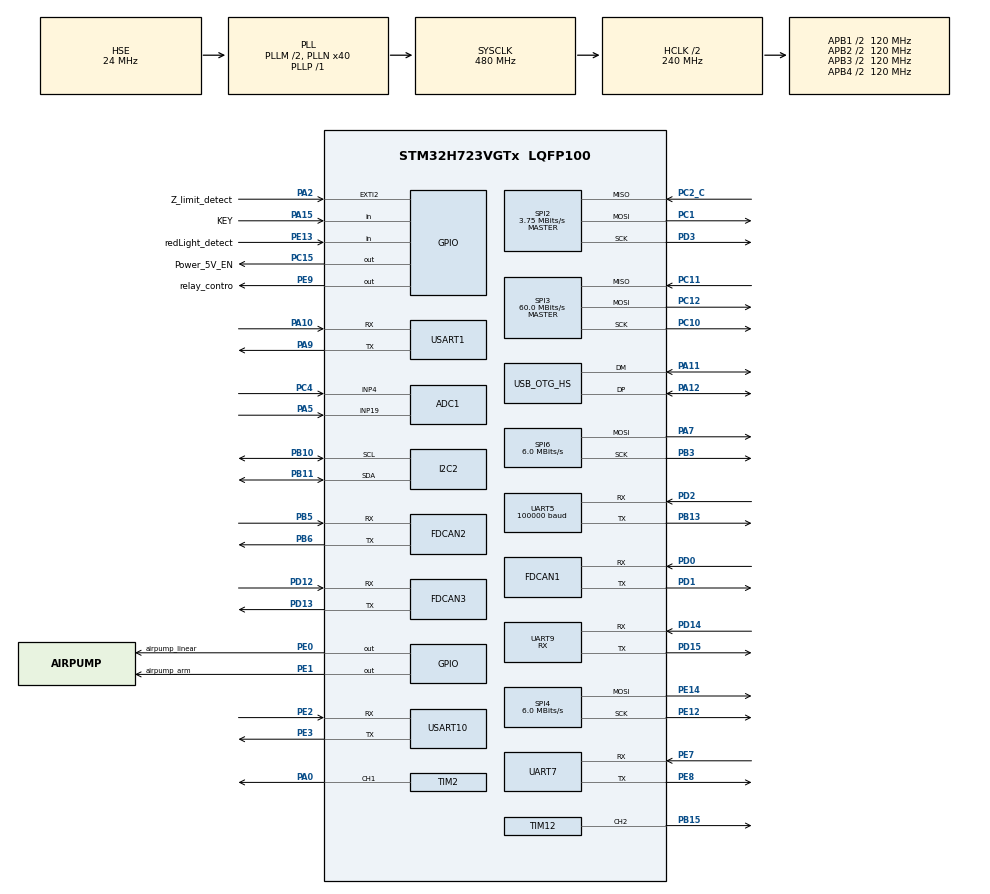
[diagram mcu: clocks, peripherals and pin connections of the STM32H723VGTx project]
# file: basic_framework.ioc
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ADC1.Channel-0\#ChannelRegularConversion=ADC_CHANNEL_4
ADC1.Channel-1\#ChannelRegularConversion=ADC_CHANNEL_4
ADC1.ClockPrescaler=ADC_CLOCK_ASYNC_DIV64
ADC1.ContinuousConvMode=ENABLE
ADC1.ConversionDataManagement=ADC_CONVERSIONDATA_DMA_CIRCULAR
ADC1.NbrOfConversion=2
ADC1.NbrOfConversionFlag=1
ADC1.OffsetNumber-0\#ChannelRegularConversion=ADC_OFFSET_NONE
ADC1.OffsetNumber-1\#ChannelRegularConversion=ADC_OFFSET_NONE
ADC1.OffsetSignedSaturation-0\#ChannelRegularConversion=DISABLE
ADC1.OffsetSignedSaturation-1\#ChannelRegularConversion=DISABLE
ADC1.Rank-0\#ChannelRegularConversion=1
ADC1.Rank-1\#ChannelRegularConversion=2
ADC1.SamplingTime-0\#ChannelRegularConversion=ADC_SAMPLETIME_1CYCLE_5
ADC1.SamplingTime-1\#ChannelRegularConversion=ADC_SAMPLETIME_1CYCLE_5
ADC1.master=1
Bdma.Request0=SPI6_TX
Bdma.RequestsNb=1
Bdma.SPI6_TX.0.Direction=DMA_MEMORY_TO_PERIPH
Bdma.SPI6_TX.0.EventEnable=DISABLE
Bdma.SPI6_TX.0.Instance=BDMA_Channel0
Bdma.SPI6_TX.0.MemDataAlignment=DMA_MDATAALIGN_BYTE
Bdma.SPI6_TX.0.MemInc=DMA_MINC_ENABLE
Bdma.SPI6_TX.0.Mode=DMA_NORMAL
Bdma.SPI6_TX.0.PeriphDataAlignment=DMA_PDATAALIGN_BYTE
Bdma.SPI6_TX.0.PeriphInc=DMA_PINC_DISABLE
Bdma.SPI6_TX.0.Polarity=HAL_DMAMUX_REQ_GEN_RISING
Bdma.SPI6_TX.0.Priority=DMA_PRIORITY_LOW
Bdma.SPI6_TX.0.RequestNumber=1
Bdma.SPI6_TX.0.SignalID=NONE
Bdma.SPI6_TX.0.SyncEnable=DISABLE
Bdma.SPI6_TX.0.SyncPolarity=HAL_DMAMUX_SYNC_NO_EVENT
Bdma.SPI6_TX.0.SyncRequestNumber=1
Bdma.SPI6_TX.0.SyncSignalID=NONE
CORTEX_M7.AccessPermission_S-Cortex_Memory_Protection_Unit_Region1_Settings_S=MPU_REGION_FULL_ACCESS
CORTEX_M7.BaseAddress_S-Cortex_Memory_Protection_Unit_Region1_Settings_S=0x30000000
CORTEX_M7.BaseAddress_Spec=0x30000400
CORTEX_M7.CPU_DCache=Disabled
CORTEX_M7.CPU_ICache=Disabled
CORTEX_M7.DisableExec_S-Cortex_Memory_Protection_Unit_Region1_Settings_S=MPU_INSTRUCTION_ACCESS_DISABLE
CORTEX_M7.Enable_S-Cortex_Memory_Protection_Unit_Region1_Settings_S=MPU_REGION_ENABLE
CORTEX_M7.Enable_S-Cortex_Memory_Protection_Unit_Region2_Settings_S=__NULL
CORTEX_M7.IsBufferable_S-Cortex_Memory_Protection_Unit_Region1_Settings_S=MPU_ACCESS_BUFFERABLE
CORTEX_M7.IsShareable_S-Cortex_Memory_Protection_Unit_Region1_Settings_S=MPU_ACCESS_SHAREABLE
CORTEX_M7.IsShareable_Spec=MPU_ACCESS_NOT_SHAREABLE
CORTEX_M7.Size_S-Cortex_Memory_Protection_Unit_Region1_Settings_S=MPU_REGION_SIZE_1KB
CORTEX_M7.Size_Spec=MPU_REGION_SIZE_32KB
CORTEX_M7.SubRegionDisable_Spec=0x00
Dma.ADC1.9.Direction=DMA_PERIPH_TO_MEMORY
Dma.ADC1.9.EventEnable=DISABLE
Dma.ADC1.9.FIFOMode=DMA_FIFOMODE_DISABLE
Dma.ADC1.9.Instance=DMA1_Stream0
Dma.ADC1.9.MemDataAlignment=DMA_MDATAALIGN_HALFWORD
Dma.ADC1.9.MemInc=DMA_MINC_ENABLE
Dma.ADC1.9.Mode=DMA_NORMAL
Dma.ADC1.9.PeriphDataAlignment=DMA_PDATAALIGN_HALFWORD
Dma.ADC1.9.PeriphInc=DMA_PINC_DISABLE
Dma.ADC1.9.Polarity=HAL_DMAMUX_REQ_GEN_RISING
Dma.ADC1.9.Priority=DMA_PRIORITY_LOW
Dma.ADC1.9.RequestNumber=1
Dma.ADC1.9.SignalID=NONE
Dma.ADC1.9.SyncEnable=DISABLE
Dma.ADC1.9.SyncPolarity=HAL_DMAMUX_SYNC_NO_EVENT
Dma.ADC1.9.SyncRequestNumber=1
Dma.ADC1.9.SyncSignalID=NONE
Dma.Request0=USART10_RX
Dma.Request1=USART10_TX
Dma.Request10=UART9_RX
Dma.Request11=SPI4_TX
Dma.Request12=SPI3_RX
Dma.Request2=UART7_RX
Dma.Request3=UART7_TX
Dma.Request4=USART1_RX
Dma.Request5=USART1_TX
Dma.Request6=SPI2_RX
Dma.Request7=SPI2_TX
Dma.Request8=UART5_RX
Dma.Request9=ADC1
Dma.SPI2_RX.6.Direction=DMA_PERIPH_TO_MEMORY
Dma.SPI2_RX.6.EventEnable=DISABLE
Dma.SPI2_RX.6.FIFOMode=DMA_FIFOMODE_DISABLE
Dma.SPI2_RX.6.Instance=DMA1_Stream7
Dma.SPI2_RX.6.MemDataAlignment=DMA_MDATAALIGN_BYTE
Dma.SPI2_RX.6.MemInc=DMA_MINC_ENABLE
Dma.SPI2_RX.6.Mode=DMA_NORMAL
Dma.SPI2_RX.6.PeriphDataAlignment=DMA_PDATAALIGN_BYTE
Dma.SPI2_RX.6.PeriphInc=DMA_PINC_DISABLE
Dma.SPI2_RX.6.Polarity=HAL_DMAMUX_REQ_GEN_RISING
Dma.SPI2_RX.6.Priority=DMA_PRIORITY_VERY_HIGH
Dma.SPI2_RX.6.RequestNumber=1
Dma.SPI2_RX.6.SignalID=NONE
Dma.SPI2_RX.6.SyncEnable=DISABLE
Dma.SPI2_RX.6.SyncPolarity=HAL_DMAMUX_SYNC_NO_EVENT
Dma.SPI2_RX.6.SyncRequestNumber=1
Dma.SPI2_RX.6.SyncSignalID=NONE
Dma.SPI2_TX.7.Direction=DMA_MEMORY_TO_PERIPH
Dma.SPI2_TX.7.EventEnable=DISABLE
Dma.SPI2_TX.7.FIFOMode=DMA_FIFOMODE_DISABLE
Dma.SPI2_TX.7.Instance=DMA2_Stream0
Dma.SPI2_TX.7.MemDataAlignment=DMA_MDATAALIGN_BYTE
Dma.SPI2_TX.7.MemInc=DMA_MINC_ENABLE
Dma.SPI2_TX.7.Mode=DMA_NORMAL
Dma.SPI2_TX.7.PeriphDataAlignment=DMA_PDATAALIGN_BYTE
Dma.SPI2_TX.7.PeriphInc=DMA_PINC_DISABLE
Dma.SPI2_TX.7.Polarity=HAL_DMAMUX_REQ_GEN_RISING
Dma.SPI2_TX.7.Priority=DMA_PRIORITY_VERY_HIGH
Dma.SPI2_TX.7.RequestNumber=1
Dma.SPI2_TX.7.SignalID=NONE
Dma.SPI2_TX.7.SyncEnable=DISABLE
Dma.SPI2_TX.7.SyncPolarity=HAL_DMAMUX_SYNC_NO_EVENT
Dma.SPI2_TX.7.SyncRequestNumber=1
Dma.SPI2_TX.7.SyncSignalID=NONE
Dma.SPI3_RX.12.Direction=DMA_PERIPH_TO_MEMORY
Dma.SPI3_RX.12.EventEnable=DISABLE
Dma.SPI3_RX.12.FIFOMode=DMA_FIFOMODE_DISABLE
Dma.SPI3_RX.12.Instance=DMA2_Stream4
Dma.SPI3_RX.12.MemDataAlignment=DMA_MDATAALIGN_BYTE
Dma.SPI3_RX.12.MemInc=DMA_MINC_ENABLE
Dma.SPI3_RX.12.Mode=DMA_NORMAL
Dma.SPI3_RX.12.PeriphDataAlignment=DMA_PDATAALIGN_BYTE
Dma.SPI3_RX.12.PeriphInc=DMA_PINC_DISABLE
Dma.SPI3_RX.12.Polarity=HAL_DMAMUX_REQ_GEN_RISING
Dma.SPI3_RX.12.Priority=DMA_PRIORITY_LOW
Dma.SPI3_RX.12.RequestNumber=1
Dma.SPI3_RX.12.SignalID=NONE
Dma.SPI3_RX.12.SyncEnable=DISABLE
Dma.SPI3_RX.12.SyncPolarity=HAL_DMAMUX_SYNC_NO_EVENT
Dma.SPI3_RX.12.SyncRequestNumber=1
Dma.SPI3_RX.12.SyncSignalID=NONE
Dma.SPI4_TX.11.Direction=DMA_MEMORY_TO_PERIPH
Dma.SPI4_TX.11.EventEnable=DISABLE
Dma.SPI4_TX.11.FIFOMode=DMA_FIFOMODE_DISABLE
Dma.SPI4_TX.11.Instance=DMA2_Stream3
Dma.SPI4_TX.11.MemDataAlignment=DMA_MDATAALIGN_BYTE
Dma.SPI4_TX.11.MemInc=DMA_MINC_ENABLE
Dma.SPI4_TX.11.Mode=DMA_NORMAL
Dma.SPI4_TX.11.PeriphDataAlignment=DMA_PDATAALIGN_BYTE
Dma.SPI4_TX.11.PeriphInc=DMA_PINC_DISABLE
Dma.SPI4_TX.11.Polarity=HAL_DMAMUX_REQ_GEN_RISING
Dma.SPI4_TX.11.Priority=DMA_PRIORITY_LOW
Dma.SPI4_TX.11.RequestNumber=1
Dma.SPI4_TX.11.SignalID=NONE
Dma.SPI4_TX.11.SyncEnable=DISABLE
Dma.SPI4_TX.11.SyncPolarity=HAL_DMAMUX_SYNC_NO_EVENT
Dma.SPI4_TX.11.SyncRequestNumber=1
Dma.SPI4_TX.11.SyncSignalID=NONE
Dma.UART5_RX.8.Direction=DMA_PERIPH_TO_MEMORY
Dma.UART5_RX.8.EventEnable=DISABLE
Dma.UART5_RX.8.FIFOMode=DMA_FIFOMODE_DISABLE
Dma.UART5_RX.8.Instance=DMA2_Stream1
Dma.UART5_RX.8.MemDataAlignment=DMA_MDATAALIGN_BYTE
Dma.UART5_RX.8.MemInc=DMA_MINC_ENABLE
Dma.UART5_RX.8.Mode=DMA_NORMAL
Dma.UART5_RX.8.PeriphDataAlignment=DMA_PDATAALIGN_BYTE
Dma.UART5_RX.8.PeriphInc=DMA_PINC_DISABLE
Dma.UART5_RX.8.Polarity=HAL_DMAMUX_REQ_GEN_RISING
Dma.UART5_RX.8.Priority=DMA_PRIORITY_VERY_HIGH
Dma.UART5_RX.8.RequestNumber=1
Dma.UART5_RX.8.SignalID=NONE
Dma.UART5_RX.8.SyncEnable=DISABLE
Dma.UART5_RX.8.SyncPolarity=HAL_DMAMUX_SYNC_NO_EVENT
Dma.UART5_RX.8.SyncRequestNumber=1
Dma.UART5_RX.8.SyncSignalID=NONE
Dma.UART7_RX.2.Direction=DMA_PERIPH_TO_MEMORY
Dma.UART7_RX.2.EventEnable=DISABLE
Dma.UART7_RX.2.FIFOMode=DMA_FIFOMODE_DISABLE
Dma.UART7_RX.2.Instance=DMA1_Stream3
Dma.UART7_RX.2.MemDataAlignment=DMA_MDATAALIGN_BYTE
Dma.UART7_RX.2.MemInc=DMA_MINC_ENABLE
Dma.UART7_RX.2.Mode=DMA_NORMAL
Dma.UART7_RX.2.PeriphDataAlignment=DMA_PDATAALIGN_BYTE
Dma.UART7_RX.2.PeriphInc=DMA_PINC_DISABLE
Dma.UART7_RX.2.Polarity=HAL_DMAMUX_REQ_GEN_RISING
Dma.UART7_RX.2.Priority=DMA_PRIORITY_LOW
Dma.UART7_RX.2.RequestNumber=1
Dma.UART7_RX.2.SignalID=NONE
Dma.UART7_RX.2.SyncEnable=DISABLE
Dma.UART7_RX.2.SyncPolarity=HAL_DMAMUX_SYNC_NO_EVENT
Dma.UART7_RX.2.SyncRequestNumber=1
Dma.UART7_RX.2.SyncSignalID=NONE
Dma.UART7_TX.3.Direction=DMA_MEMORY_TO_PERIPH
Dma.UART7_TX.3.EventEnable=DISABLE
Dma.UART7_TX.3.FIFOMode=DMA_FIFOMODE_DISABLE
Dma.UART7_TX.3.Instance=DMA1_Stream4
Dma.UART7_TX.3.MemDataAlignment=DMA_MDATAALIGN_BYTE
Dma.UART7_TX.3.MemInc=DMA_MINC_ENABLE
Dma.UART7_TX.3.Mode=DMA_NORMAL
Dma.UART7_TX.3.PeriphDataAlignment=DMA_PDATAALIGN_BYTE
Dma.UART7_TX.3.PeriphInc=DMA_PINC_DISABLE
Dma.UART7_TX.3.Polarity=HAL_DMAMUX_REQ_GEN_RISING
Dma.UART7_TX.3.Priority=DMA_PRIORITY_LOW
Dma.UART7_TX.3.RequestNumber=1
Dma.UART7_TX.3.SignalID=NONE
Dma.UART7_TX.3.SyncEnable=DISABLE
Dma.UART7_TX.3.SyncPolarity=HAL_DMAMUX_SYNC_NO_EVENT
Dma.UART7_TX.3.SyncRequestNumber=1
Dma.UART7_TX.3.SyncSignalID=NONE
Dma.UART9_RX.10.Direction=DMA_PERIPH_TO_MEMORY
Dma.UART9_RX.10.EventEnable=DISABLE
Dma.UART9_RX.10.FIFOMode=DMA_FIFOMODE_DISABLE
Dma.UART9_RX.10.Instance=DMA2_Stream2
Dma.UART9_RX.10.MemDataAlignment=DMA_MDATAALIGN_BYTE
Dma.UART9_RX.10.MemInc=DMA_MINC_ENABLE
Dma.UART9_RX.10.Mode=DMA_NORMAL
Dma.UART9_RX.10.PeriphDataAlignment=DMA_PDATAALIGN_BYTE
Dma.UART9_RX.10.PeriphInc=DMA_PINC_DISABLE
Dma.UART9_RX.10.Polarity=HAL_DMAMUX_REQ_GEN_RISING
Dma.UART9_RX.10.Priority=DMA_PRIORITY_HIGH
Dma.UART9_RX.10.RequestNumber=1
Dma.UART9_RX.10.SignalID=NONE
Dma.UART9_RX.10.SyncEnable=DISABLE
Dma.UART9_RX.10.SyncPolarity=HAL_DMAMUX_SYNC_NO_EVENT
Dma.UART9_RX.10.SyncRequestNumber=1
Dma.UART9_RX.10.SyncSignalID=NONE
Dma.USART10_RX.0.Direction=DMA_PERIPH_TO_MEMORY
Dma.USART10_RX.0.EventEnable=DISABLE
Dma.USART10_RX.0.FIFOMode=DMA_FIFOMODE_DISABLE
Dma.USART10_RX.0.Instance=DMA1_Stream1
Dma.USART10_RX.0.MemDataAlignment=DMA_MDATAALIGN_BYTE
Dma.USART10_RX.0.MemInc=DMA_MINC_ENABLE
Dma.USART10_RX.0.Mode=DMA_NORMAL
Dma.USART10_RX.0.PeriphDataAlignment=DMA_PDATAALIGN_BYTE
Dma.USART10_RX.0.PeriphInc=DMA_PINC_DISABLE
Dma.USART10_RX.0.Polarity=HAL_DMAMUX_REQ_GEN_RISING
Dma.USART10_RX.0.Priority=DMA_PRIORITY_HIGH
Dma.USART10_RX.0.RequestNumber=1
Dma.USART10_RX.0.SignalID=NONE
Dma.USART10_RX.0.SyncEnable=DISABLE
Dma.USART10_RX.0.SyncPolarity=HAL_DMAMUX_SYNC_NO_EVENT
Dma.USART10_RX.0.SyncRequestNumber=1
Dma.USART10_RX.0.SyncSignalID=NONE
Dma.USART10_TX.1.Direction=DMA_MEMORY_TO_PERIPH
Dma.USART10_TX.1.EventEnable=DISABLE
Dma.USART10_TX.1.FIFOMode=DMA_FIFOMODE_DISABLE
Dma.USART10_TX.1.Instance=DMA1_Stream2
Dma.USART10_TX.1.MemDataAlignment=DMA_MDATAALIGN_BYTE
Dma.USART10_TX.1.MemInc=DMA_MINC_ENABLE
Dma.USART10_TX.1.Mode=DMA_NORMAL
Dma.USART10_TX.1.PeriphDataAlignment=DMA_PDATAALIGN_BYTE
Dma.USART10_TX.1.PeriphInc=DMA_PINC_DISABLE
Dma.USART10_TX.1.Polarity=HAL_DMAMUX_REQ_GEN_RISING
Dma.USART10_TX.1.Priority=DMA_PRIORITY_HIGH
Dma.USART10_TX.1.RequestNumber=1
Dma.USART10_TX.1.SignalID=NONE
Dma.USART10_TX.1.SyncEnable=DISABLE
Dma.USART10_TX.1.SyncPolarity=HAL_DMAMUX_SYNC_NO_EVENT
Dma.USART10_TX.1.SyncRequestNumber=1
Dma.USART10_TX.1.SyncSignalID=NONE
Dma.USART1_RX.4.Direction=DMA_PERIPH_TO_MEMORY
Dma.USART1_RX.4.EventEnable=DISABLE
Dma.USART1_RX.4.FIFOMode=DMA_FIFOMODE_DISABLE
Dma.USART1_RX.4.Instance=DMA1_Stream5
Dma.USART1_RX.4.MemDataAlignment=DMA_MDATAALIGN_BYTE
Dma.USART1_RX.4.MemInc=DMA_MINC_ENABLE
Dma.USART1_RX.4.Mode=DMA_NORMAL
Dma.USART1_RX.4.PeriphDataAlignment=DMA_PDATAALIGN_BYTE
Dma.USART1_RX.4.PeriphInc=DMA_PINC_DISABLE
Dma.USART1_RX.4.Polarity=HAL_DMAMUX_REQ_GEN_RISING
Dma.USART1_RX.4.Priority=DMA_PRIORITY_LOW
Dma.USART1_RX.4.RequestNumber=1
Dma.USART1_RX.4.SignalID=NONE
Dma.USART1_RX.4.SyncEnable=DISABLE
Dma.USART1_RX.4.SyncPolarity=HAL_DMAMUX_SYNC_NO_EVENT
Dma.USART1_RX.4.SyncRequestNumber=1
Dma.USART1_RX.4.SyncSignalID=NONE
Dma.USART1_TX.5.Direction=DMA_MEMORY_TO_PERIPH
Dma.USART1_TX.5.EventEnable=DISABLE
Dma.USART1_TX.5.FIFOMode=DMA_FIFOMODE_DISABLE
Dma.USART1_TX.5.Instance=DMA1_Stream6
Dma.USART1_TX.5.MemDataAlignment=DMA_MDATAALIGN_BYTE
Dma.USART1_TX.5.MemInc=DMA_MINC_ENABLE
Dma.USART1_TX.5.Mode=DMA_NORMAL
Dma.USART1_TX.5.PeriphDataAlignment=DMA_PDATAALIGN_BYTE
Dma.USART1_TX.5.PeriphInc=DMA_PINC_DISABLE
Dma.USART1_TX.5.Polarity=HAL_DMAMUX_REQ_GEN_RISING
Dma.USART1_TX.5.Priority=DMA_PRIORITY_LOW
Dma.USART1_TX.5.RequestNumber=1
Dma.USART1_TX.5.SignalID=NONE
Dma.USART1_TX.5.SyncEnable=DISABLE
Dma.USART1_TX.5.SyncPolarity=HAL_DMAMUX_SYNC_NO_EVENT
Dma.USART1_TX.5.SyncRequestNumber=1
Dma.USART1_TX.5.SyncSignalID=NONE
FDCAN1.AutoRetransmission=ENABLE
FDCAN1.CalculateBaudRateNominal=1000000
FDCAN1.CalculateTimeBitNominal=1000
FDCAN1.CalculateTimeQuantumNominal=166.66666666666666
FDCAN1.NominalPrescaler=4
FDCAN1.NominalTimeSeg1=3
FDCAN1.NominalTimeSeg2=2
FDCAN1.RxFifo0ElmtsNbr=32
FDCAN1.RxFifo1ElmtsNbr=32
FDCAN1.StdFiltersNbr=1
FDCAN1.TxFifoQueueElmtsNbr=32
FDCAN2.AutoRetransmission=ENABLE
FDCAN2.CalculateBaudRateNominal=1000000
FDCAN2.CalculateTimeBitNominal=1000
FDCAN2.CalculateTimeQuantumNominal=166.66666666666666
FDCAN2.MessageRAMOffset=0x406
FDCAN2.NominalPrescaler=4
FDCAN2.NominalTimeSeg1=3
FDCAN2.NominalTimeSeg2=2
FDCAN2.RxFifo0ElmtsNbr=32
FDCAN2.RxFifo1ElmtsNbr=32
FDCAN2.StdFiltersNbr=1
FDCAN2.TxFifoQueueElmtsNbr=32
FDCAN3.AutoRetransmission=ENABLE
FDCAN3.CalculateBaudRateNominal=1000000
FDCAN3.CalculateTimeBitNominal=1000
FDCAN3.CalculateTimeQuantumNominal=166.66666666666666
FDCAN3.MessageRAMOffset=0x812
FDCAN3.NominalPrescaler=4
FDCAN3.NominalTimeSeg1=3
FDCAN3.NominalTimeSeg2=2
FDCAN3.RxFifo0ElmtsNbr=32
FDCAN3.StdFiltersNbr=1
FDCAN3.TxFifoQueueElmtsNbr=32
I2C2.Timing=0x307075B1
Mcu.Family=STM32H7
Mcu.Name=STM32H723VGTx
Mcu.Package=LQFP100
NVIC.BDMA_Channel0_IRQn=true\:0\:0\:false\:false\:true\:false\:true\:true
NVIC.DMA1_Stream0_IRQn=true\:0\:0\:false\:false\:true\:false\:true\:true
NVIC.DMA1_Stream1_IRQn=true\:0\:0\:false\:false\:true\:false\:true\:true
NVIC.DMA1_Stream2_IRQn=true\:0\:0\:false\:false\:true\:false\:true\:true
NVIC.DMA1_Stream3_IRQn=true\:0\:0\:false\:false\:true\:false\:true\:true
NVIC.DMA1_Stream4_IRQn=true\:0\:0\:false\:false\:true\:false\:true\:true
NVIC.DMA1_Stream5_IRQn=true\:0\:0\:false\:false\:true\:false\:true\:true
NVIC.DMA1_Stream6_IRQn=true\:0\:0\:false\:false\:true\:false\:true\:true
NVIC.DMA1_Stream7_IRQn=true\:0\:0\:false\:false\:true\:false\:true\:true
NVIC.DMA2_Stream0_IRQn=true\:0\:0\:false\:false\:true\:false\:true\:true
NVIC.DMA2_Stream1_IRQn=true\:0\:0\:false\:false\:true\:false\:true\:true
NVIC.DMA2_Stream2_IRQn=true\:0\:0\:false\:false\:true\:false\:true\:true
NVIC.DMA2_Stream3_IRQn=true\:0\:0\:false\:false\:true\:false\:true\:true
NVIC.DMA2_Stream4_IRQn=true\:0\:0\:false\:false\:true\:false\:true\:true
NVIC.EXTI2_IRQn=true\:0\:0\:false\:false\:true\:true\:true\:true
NVIC.FDCAN1_IT0_IRQn=true\:0\:0\:false\:false\:true\:true\:true\:true
NVIC.FDCAN1_IT1_IRQn=true\:0\:0\:false\:false\:true\:true\:true\:true
NVIC.FDCAN2_IT0_IRQn=true\:0\:0\:false\:false\:true\:true\:true\:true
NVIC.FDCAN2_IT1_IRQn=true\:0\:0\:false\:false\:true\:true\:true\:true
NVIC.FDCAN3_IT0_IRQn=true\:0\:0\:false\:false\:true\:true\:true\:true
NVIC.FDCAN3_IT1_IRQn=true\:0\:0\:false\:false\:true\:true\:true\:true
NVIC.FLASH_IRQn=true\:14\:0\:true\:false\:true\:true\:true\:true
NVIC.OTG_HS_IRQn=true\:0\:0\:false\:false\:true\:false\:true\:true
NVIC.PriorityGroup=NVIC_PRIORITYGROUP_4
NVIC.SPI2_IRQn=true\:0\:0\:false\:false\:true\:false\:true\:true
NVIC.SPI3_IRQn=true\:0\:0\:false\:false\:true\:false\:true\:true
NVIC.SPI4_IRQn=true\:0\:0\:false\:false\:true\:true\:true\:true
NVIC.SPI6_IRQn=true\:0\:0\:false\:false\:true\:true\:true\:true
NVIC.TIM8_TRG_COM_TIM14_IRQn=true\:15\:0\:false\:false\:true\:false\:true\:true
NVIC.TimeBase=TIM8_TRG_COM_TIM14_IRQn
NVIC.TimeBaseIP=TIM14
NVIC.UART5_IRQn=true\:0\:0\:false\:false\:true\:true\:true\:true
NVIC.UART7_IRQn=true\:0\:0\:false\:false\:true\:true\:true\:true
NVIC.UART9_IRQn=true\:0\:0\:false\:false\:true\:true\:true\:true
NVIC.USART10_IRQn=true\:0\:0\:false\:false\:true\:true\:true\:true
NVIC.USART1_IRQn=true\:0\:0\:false\:false\:true\:true\:true\:true
PA0.Signal=S_TIM2_CH1_ETR
PA10.Mode=Asynchronous
PA10.Signal=USART1_RX
PA11.Mode=Device_Only_FS
PA11.Signal=USB_OTG_HS_DM
PA12.Mode=Device_Only_FS
PA12.Signal=USB_OTG_HS_DP
PA13(JTMS/SWDIO).Mode=Serial_Wire
PA13(JTMS/SWDIO).Signal=DEBUG_JTMS-SWDIO
PA14(JTCK/SWCLK).Mode=Serial_Wire
PA14(JTCK/SWCLK).Signal=DEBUG_JTCK-SWCLK
PA15(JTDI).GPIO_Label=KEY
PA15(JTDI).GPIO_PuPd=GPIO_PULLUP
PA15(JTDI).Signal=GPIO_Input
PA2.GPIO_Label=Z_limit_detect
PA2.GPIO_ModeDefaultEXTI=GPIO_MODE_IT_FALLING
PA2.GPIO_PuPd=GPIO_PULLUP
PA2.Signal=GPXTI2
PA5.Signal=ADCx_INP19
PA7.Mode=TX_Only_Simplex_Unidirect_Master
PA7.Signal=SPI6_MOSI
PA9.Mode=Asynchronous
PA9.Signal=USART1_TX
PB10.Mode=I2C
PB10.Signal=I2C2_SCL
PB11.Mode=I2C
PB11.Signal=I2C2_SDA
PB13.Mode=Asynchronous
PB13.Signal=UART5_TX
PB15.Signal=S_TIM12_CH2
PB3(JTDO/TRACESWO).Mode=TX_Only_Simplex_Unidirect_Master
PB3(JTDO/TRACESWO).Signal=SPI6_SCK
PB5.GPIO_Speed=GPIO_SPEED_FREQ_LOW
PB5.Mode=FDCAN_Activate
PB5.Signal=FDCAN2_RX
PB6.GPIO_Speed=GPIO_SPEED_FREQ_LOW
PB6.Mode=FDCAN_Activate
PB6.Signal=FDCAN2_TX
PC1.Mode=Full_Duplex_Master
PC1.Signal=SPI2_MOSI
PC10.Mode=Full_Duplex_Master
PC10.Signal=SPI3_SCK
PC11.Mode=Full_Duplex_Master
PC11.Signal=SPI3_MISO
PC12.Mode=Full_Duplex_Master
PC12.Signal=SPI3_MOSI
PC15-OSC32_OUT.GPIO_Label=Power_5V_EN
PC15-OSC32_OUT.GPIO_ModeDefaultOutputPP=GPIO_MODE_OUTPUT_PP
PC15-OSC32_OUT.GPIO_PuPd=GPIO_PULLUP
PC15-OSC32_OUT.PinState=GPIO_PIN_SET
PC15-OSC32_OUT.Signal=GPIO_Output
PC2_C.Mode=Full_Duplex_Master
PC2_C.Signal=SPI2_MISO
PC4.Signal=ADCx_INP4
PD0.GPIO_Speed=GPIO_SPEED_FREQ_VERY_HIGH
PD0.Mode=FDCAN_Activate
PD0.Signal=FDCAN1_RX
PD1.GPIO_Speed=GPIO_SPEED_FREQ_VERY_HIGH
PD1.Mode=FDCAN_Activate
PD1.Signal=FDCAN1_TX
PD12.GPIO_Speed=GPIO_SPEED_FREQ_VERY_HIGH
PD12.Mode=FDCAN_Activate
PD12.Signal=FDCAN3_RX
PD13.GPIO_Speed=GPIO_SPEED_FREQ_VERY_HIGH
PD13.Mode=FDCAN_Activate
PD13.Signal=FDCAN3_TX
PD14.Mode=Asynchronous
PD14.Signal=UART9_RX
PD15.Mode=Asynchronous
PD15.Signal=UART9_TX
PD2.GPIO_Speed=GPIO_SPEED_FREQ_VERY_HIGH
PD2.Mode=Asynchronous
PD2.Signal=UART5_RX
PD3.Mode=Full_Duplex_Master
PD3.Signal=SPI2_SCK
PE0.GPIO_Label=airpump_linear
PE0.GPIO_PuPd=GPIO_PULLUP
PE0.Signal=GPIO_Output
PE1.GPIO_Label=airpump_arm
PE1.GPIO_PuPd=GPIO_PULLUP
PE1.Signal=GPIO_Output
PE12.Mode=TX_Only_Simplex_Unidirect_Master
PE12.Signal=SPI4_SCK
PE13.GPIO_Label=redLight_detect
PE13.GPIO_PuPd=GPIO_PULLDOWN
PE13.Signal=GPIO_Input
PE14.Mode=TX_Only_Simplex_Unidirect_Master
PE14.Signal=SPI4_MOSI
PE2.Mode=Asynchronous
PE2.Signal=USART10_RX
PE3.Mode=Asynchronous
PE3.Signal=USART10_TX
PE7.Mode=Asynchronous
PE7.Signal=UART7_RX
PE8.Mode=Asynchronous
PE8.Signal=UART7_TX
PE9.GPIO_Label=relay_contro
PE9.GPIO_PuPd=GPIO_PULLUP
PE9.Signal=GPIO_Output
PH0-OSC_IN.Mode=HSE-External-Oscillator
PH0-OSC_IN.Signal=RCC_OSC_IN
PH1-OSC_OUT.Mode=HSE-External-Oscillator
PH1-OSC_OUT.Signal=RCC_OSC_OUT
ProjectManager.HeapSize=0x10000
ProjectManager.StackSize=0x10000
ProjectManager.TargetToolchain=Makefile
RCC.ADCFreq_Value=96000000
RCC.APB1Freq_Value=120000000
RCC.APB2Freq_Value=120000000
RCC.APB3Freq_Value=120000000
RCC.APB4Freq_Value=120000000
RCC.CortexFreq_Value=480000000
RCC.D1PPRE=RCC_APB3_DIV2
RCC.D2PPRE1=RCC_APB1_DIV2
RCC.D2PPRE2=RCC_APB2_DIV2
RCC.D3PPRE=RCC_APB4_DIV2
RCC.DIVM1=2
RCC.DIVM2=2
RCC.DIVN1=40
RCC.DIVN2=16
RCC.DIVP1=1
RCC.DIVQ1=4
RCC.EnbaleCSS=false
RCC.FDCANCLockSelection=RCC_FDCANCLKSOURCE_HSE
RCC.HCLKFreq_Value=240000000
RCC.HPRE=RCC_HCLK_DIV2
RCC.HSE_VALUE=24000000
RCC.PLL1_VCO_SEL-AdvancedSettings=RCC_PLL1VCOMEDIUM
RCC.PLL2FRACN=0
RCC.PLL2_VCO_SEL-AdvancedSettings=RCC_PLL2VCOMEDIUM
RCC.PLL3FRACN=0
RCC.PLL3_VCO_SEL-AdvancedSettings=RCC_PLL3VCOMEDIUM
RCC.PLLFRACN=0
RCC.PLLSourceVirtual=RCC_PLLSOURCE_HSE
RCC.SPI6CLockSelection=RCC_SPI6CLKSOURCE_HSE
RCC.SYSCLKFreq_VALUE=480000000
RCC.SYSCLKSource=RCC_SYSCLKSOURCE_PLLCLK
RCC.Spi45ClockSelection=RCC_SPI45CLKSOURCE_HSE
RCC.USART16CLockSelection=RCC_USART16910CLKSOURCE_HSI
RCC.USART234578CLockSelection=RCC_USART234578CLKSOURCE_HSI
RCC.USBCLockSelection=RCC_USBCLKSOURCE_HSI48
RCC.USBFreq_Value=48000000
SH.ADCx_INP19.0=ADC1_INP19,IN19-Single-Ended
SH.ADCx_INP4.0=ADC1_INP4,IN4-Single-Ended
SH.S_TIM12_CH2.0=TIM12_CH2,PWM Generation2 CH2
SH.S_TIM2_CH1_ETR.0=TIM2_CH1,PWM Generation1 CH1
SPI2.BaudRatePrescaler=SPI_BAUDRATEPRESCALER_32
SPI2.CLKPhase=SPI_PHASE_2EDGE
SPI2.CLKPolarity=SPI_POLARITY_HIGH
SPI2.CalculateBaudRate=3.75 MBits/s
SPI2.DataSize=SPI_DATASIZE_8BIT
SPI2.Direction=SPI_DIRECTION_2LINES
SPI2.Mode=SPI_MODE_MASTER
SPI2.VirtualType=VM_MASTER
SPI3.BaudRatePrescaler=SPI_BAUDRATEPRESCALER_2
SPI3.CalculateBaudRate=60.0 MBits/s
SPI3.DataSize=SPI_DATASIZE_24BIT
SPI3.Direction=SPI_DIRECTION_2LINES
SPI3.Mode=SPI_MODE_MASTER
SPI3.VirtualType=VM_MASTER
SPI4.BaudRatePrescaler=SPI_BAUDRATEPRESCALER_4
SPI4.CLKPhase=SPI_PHASE_2EDGE
SPI4.CalculateBaudRate=6.0 MBits/s
SPI4.DataSize=SPI_DATASIZE_8BIT
SPI4.Direction=SPI_DIRECTION_2LINES_TXONLY
SPI4.Mode=SPI_MODE_MASTER
SPI4.VirtualType=VM_MASTER
SPI6.BaudRatePrescaler=SPI_BAUDRATEPRESCALER_4
SPI6.CLKPhase=SPI_PHASE_2EDGE
SPI6.CalculateBaudRate=6.0 MBits/s
SPI6.DataSize=SPI_DATASIZE_8BIT
SPI6.Direction=SPI_DIRECTION_2LINES_TXONLY
SPI6.Mode=SPI_MODE_MASTER
SPI6.VirtualType=VM_MASTER
TIM12.Channel-PWM\ Generation2\ CH2=TIM_CHANNEL_2
TIM12.Period=1000-1
TIM12.Prescaler=240-1
TIM12.Pulse-PWM\ Generation2\ CH2=0
TIM2.Channel-PWM\ Generation1\ CH1=TIM_CHANNEL_1
TIM2.Period=19999
TIM2.Prescaler=240-1
UART5.BaudRate=100000
UART5.Mode=MODE_RX
UART5.Parity=PARITY_EVEN
UART5.StopBits=UART_STOPBITS_2
UART5.WordLength=WORDLENGTH_9B
UART9.Mode=MODE_RX
USART1.VirtualMode-Asynchronous=VM_ASYNC
USART10.VirtualMode=VM_ASYNC
USB_DEVICE.CLASS_NAME_HS=CDC
USB_DEVICE.PID_CDC_HS=0x5740
USB_DEVICE.PRODUCT_STRING_CDC_HS=STM32 Virtual ComPort
USB_DEVICE.VirtualMode=Cdc
USB_DEVICE.VirtualModeHS=Cdc_HS
USB_OTG_HS.VirtualMode-Device_Only_FS=Device_Only_FS
VP_MEMORYMAP_VS_MEMORYMAP.Mode=CurAppReg
VP_SYS_VS_tim14.Mode=TIM14
VP_USB_DEVICE_VS_USB_DEVICE_CDC_HS.Mode=CDC_HS
board=custom

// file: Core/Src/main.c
/* USER CODE BEGIN Header */
/**
  ******************************************************************************
  * @file           : main.c
  * @brief          : Main program body
  ******************************************************************************
  * @attention
  *
  * Copyright (c) 2024 STMicroelectronics.
  * All rights reserved.
  *
  * This software is licensed under terms that can be found in the LICENSE file
  * in the root directory of this software component.
  * If no LICENSE file comes with this software, it is provided AS-IS.
  *
  ******************************************************************************
  */
/* USER CODE END Header */
#include "main.h"
#include "adc.h"
#include "bdma.h"
#include "dma.h"
#include "fdcan.h"
#include "i2c.h"
#include "memorymap.h"
#include "spi.h"
#include "tim.h"
#include "usart.h"
#include "usb_device.h"
#include "gpio.h"

/* USER CODE BEGIN Includes */
#include <assert.h>

#include <bsp/SEGGER/Config/SEGGER_RTT_Conf.h>
#include <bsp/SEGGER/RTT/SEGGER_RTT.h>
/* USER CODE END Includes */

void SystemClock_Config(void);

int main(void)
{

  /* MCU Configuration--------------------------------------------------------*/

  /* Reset of all peripherals, Initializes the Flash interface and the Systick. */
  HAL_Init();

  /* USER CODE BEGIN Init */
  SEGGER_RTT_Init();

  /* USER CODE END Init */

  /* Configure the system clock */
  SystemClock_Config();

  /* USER CODE BEGIN SysInit */

  extern __ALIGN_BEGIN uint8_t USBD_HS_DeviceDesc[USB_LEN_DEV_DESC] __ALIGN_END;
  // Generate USB PID from STM32 12-byte unique id using simple CRC-16 algorithm.
  uint16_t pid  = 0xFFFF;
  uint8_t *data = (uint8_t*)UID_BASE;
  size_t len    = 12;
  while (len--) {
    pid ^= *data++;
    for (int i = 0; i < 8; i++) {
      if (pid & 1) pid = (pid >> 1) ^ 0x8408;
      else         pid = (pid >> 1);
    }
  }
  USBD_HS_DeviceDesc[10] = LOBYTE(pid);
  USBD_HS_DeviceDesc[11] = HIBYTE(pid);

  /* USER CODE END SysInit */

  /* Initialize all configured peripherals */
  MX_GPIO_Init();
  MX_DMA_Init();
  MX_BDMA_Init();
  MX_UART5_Init();
  MX_FDCAN1_Init();
  MX_TIM12_Init();
  MX_I2C2_Init();
  MX_USART10_UART_Init();
  MX_UART7_Init();
  MX_USART1_UART_Init();
  MX_SPI2_Init();
  MX_ADC1_Init();
  MX_SPI6_Init();
  MX_FDCAN2_Init();
  MX_USB_DEVICE_Init();
  MX_TIM2_Init();
  MX_FDCAN3_Init();
  MX_SPI4_Init();
  MX_UART9_Init();
  MX_SPI3_Init();
  /* USER CODE BEGIN 2 */

  static uint8_t txbuf[24];
  const uint8_t WS2812_HighLevel = 0xf0;
  const uint8_t WS2812_LowLevel  = 0xC0;
  uint32_t color = 0x000200;
  for (int i = 0; i < 8; i++)
  {
      txbuf[7-i]  = (((color>>(i+8))&0x01) ? WS2812_HighLevel : WS2812_LowLevel)>>1;
      txbuf[15-i] = (((color>>(i+16))&0x01) ? WS2812_HighLevel : WS2812_LowLevel)>>1;
      txbuf[23-i] = (((color>>i)&0x01) ? WS2812_HighLevel : WS2812_LowLevel)>>1;
  }
  HAL_SPI_Transmit(&hspi6, (uint8_t *)txbuf, 24, 1);
  HAL_Delay(100);

  AppEntry();
  assert(0);

  /* USER CODE END 2 */

  /* Infinite loop */
  while (1)
  {

  }
}

void SystemClock_Config(void)
{
  RCC_OscInitTypeDef RCC_OscInitStruct = {0};
  RCC_ClkInitTypeDef RCC_ClkInitStruct = {0};

  /** Supply configuration update enable
  */
  HAL_PWREx_ConfigSupply(PWR_LDO_SUPPLY);

  /** Configure the main internal regulator output voltage
  */
  __HAL_PWR_VOLTAGESCALING_CONFIG(PWR_REGULATOR_VOLTAGE_SCALE0);

  while(!__HAL_PWR_GET_FLAG(PWR_FLAG_VOSRDY)) {}

  /** Initializes the RCC Oscillators according to the specified parameters
  * in the RCC_OscInitTypeDef structure.
  */
  RCC_OscInitStruct.OscillatorType = RCC_OSCILLATORTYPE_HSI48|RCC_OSCILLATORTYPE_HSI
                              |RCC_OSCILLATORTYPE_HSE;
  RCC_OscInitStruct.HSEState = RCC_HSE_ON;
  RCC_OscInitStruct.HSIState = RCC_HSI_DIV1;
  RCC_OscInitStruct.HSICalibrationValue = 64;
  RCC_OscInitStruct.HSI48State = RCC_HSI48_ON;
  RCC_OscInitStruct.PLL.PLLState = RCC_PLL_ON;
  RCC_OscInitStruct.PLL.PLLSource = RCC_PLLSOURCE_HSE;
  RCC_OscInitStruct.PLL.PLLM = 2;
  RCC_OscInitStruct.PLL.PLLN = 40;
  RCC_OscInitStruct.PLL.PLLP = 1;
  RCC_OscInitStruct.PLL.PLLQ = 4;
  RCC_OscInitStruct.PLL.PLLR = 2;
  RCC_OscInitStruct.PLL.PLLRGE = RCC_PLL1VCIRANGE_3;
  RCC_OscInitStruct.PLL.PLLVCOSEL = RCC_PLL1VCOWIDE;
  RCC_OscInitStruct.PLL.PLLFRACN = 0;
  if (HAL_RCC_OscConfig(&RCC_OscInitStruct) != HAL_OK)
  {
    Error_Handler();
  }

  /** Initializes the CPU, AHB and APB buses clocks
  */
  RCC_ClkInitStruct.ClockType = RCC_CLOCKTYPE_HCLK|RCC_CLOCKTYPE_SYSCLK
                              |RCC_CLOCKTYPE_PCLK1|RCC_CLOCKTYPE_PCLK2
                              |RCC_CLOCKTYPE_D3PCLK1|RCC_CLOCKTYPE_D1PCLK1;
  RCC_ClkInitStruct.SYSCLKSource = RCC_SYSCLKSOURCE_PLLCLK;
  RCC_ClkInitStruct.SYSCLKDivider = RCC_SYSCLK_DIV1;
  RCC_ClkInitStruct.AHBCLKDivider = RCC_HCLK_DIV2;
  RCC_ClkInitStruct.APB3CLKDivider = RCC_APB3_DIV2;
  RCC_ClkInitStruct.APB1CLKDivider = RCC_APB1_DIV2;
  RCC_ClkInitStruct.APB2CLKDivider = RCC_APB2_DIV2;
  RCC_ClkInitStruct.APB4CLKDivider = RCC_APB4_DIV2;

  if (HAL_RCC_ClockConfig(&RCC_ClkInitStruct, FLASH_LATENCY_3) != HAL_OK)
  {
    Error_Handler();
  }
}

void HAL_TIM_PeriodElapsedCallback(TIM_HandleTypeDef *htim)
{
  if (htim->Instance == TIM14) {
    HAL_IncTick();
  }
}

void Error_Handler(void)
{
  __disable_irq();
  while (1)
  {
  }
}
